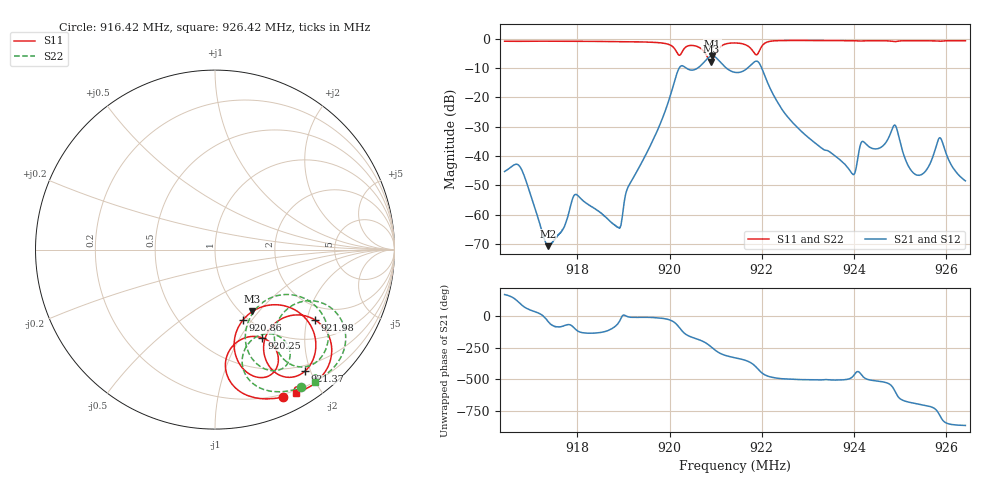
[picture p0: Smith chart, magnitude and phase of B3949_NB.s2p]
! Matrix data file written by TouchstoneData, EPCOS AG
! FILENAME: "newformat_AB71A.PCB2.UM.NB.s2p"
! COMMENT: "(AB71A.PCB2.UM.NB.s2p)"
! INFO: nport=2, nfreq=1601
! DATE: "Mon Jan 13 17:11:51 2014"
! USER: "Lynn Zhu"
! port | pin | signal
!  1  |  1  |  IN
!  2  |  4  |  OUT
# MHZ S MA R 50
! freq  magS11 angS11  magS21 angS21  magS12 angS12  magS22 angS22
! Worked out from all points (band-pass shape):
!   1601 points, 916.42 MHz to 926.42 MHz, reference 50 ohm
!   highest |S21| = -5.90 dB at 920.93 MHz (marker M1); lowest = -70.7 dB at 917.36 MHz (marker M2)
!   |S21| within 3 dB of the highest: 920.6956 MHz to 921.1534 MHz (457.9 kHz wide, 0.0497 % of centre); 921.7702 MHz to 921.9661 MHz (195.9 kHz wide, 0.0212 % of centre)
!   lowest |S11| = -7.9 dB at 920.89 MHz (marker M3), VSWR 2.35, Z = 56.2 - j46.3 ohm
!   |S11| at or under -10 dB: nowhere
!   |S22| runs from -8.0 to -0.6 dB; largest |S21 - S12| = 0.00098
!   S11 on the Smith chart (normalised r, x): 916.42 MHz: 0.18, -1.55; 920.25 MHz: 0.88, -1.24; 920.86 MHz: 0.95, -0.91; 921.37 MHz: 0.41, -1.91; 921.98 MHz: 1.53, -2.25; 926.42 MHz: 0.16, -1.70
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916.42  0.902 -65.2  0.005456 171.0  0.005448 171.0  0.905 -57.9
916.77  0.8987 -65.1  0.006264 95.1  0.006262 95.2  0.9014 -57.8
917.3637  0.9023 -65.9  0.0002918 -43.7  0.0002898 -41.3  0.9051 -58.5
918.0888  0.8981 -66.9  0.001836 -130.2  0.001833 -129.9  0.9005 -59.5
918.9013  0.8893 -68.9  0.0006046 -48.9  0.000601 -48.5  0.8918 -61.6
919.095  0.8861 -69.6  0.00291 -5.2  0.002913 -5.2  0.8883 -62.3
919.7575  0.8529 -75.1  0.02979 -13.9  0.02977 -13.9  0.8542 -67.8
920.2512  0.5545 -62.1  0.3429 -108.7  0.3423 -108.7  0.5622 -56.6
920.8637  0.4223 -68.3  0.4862 127.5  0.4853 127.5  0.4188 -61.1
920.895  0.4029 -58.8  0.5013 118.4  0.5003 118.4  0.3967 -51.9
920.9262  0.4187 -48.7  0.5071 108.9  0.5062 108.9  0.409 -41.3
921.37  0.8425 -53.5  0.2721 33.3  0.2717 33.3  0.8435 -46.0
921.42  0.8428 -55.3  0.2658 29.4  0.2654 29.4  0.8436 -47.8
921.9762  0.6831 -35.1  0.3461 -81.8  0.3457 -81.8  0.6741 -26.4
923.0888  0.9276 -56.3  0.01841 -145.8  0.01839 -145.8  0.9312 -48.6
923.9825  0.9203 -59.1  0.004848 -116.8  0.004846 -116.7  0.9238 -51.4
924.1762  0.9114 -58.8  0.01759 -110.8  0.01757 -110.9  0.9152 -51.2
924.7575  0.9118 -60.4  0.02076 -176.2  0.02073 -176.2  0.9145 -52.8
924.9013  0.8892 -59.3  0.03305 116.9  0.03302 116.9  0.8919 -51.7
925.4013  0.9201 -60.0  0.004687 21.8  0.004694 21.8  0.923 -52.4
925.8762  0.9021 -59.9  0.02033 -76.3  0.0203 -76.3  0.904 -52.3
926.42  0.9198 -60.5  0.003774 -147.2  0.003764 -147.2  0.9228 -52.9
